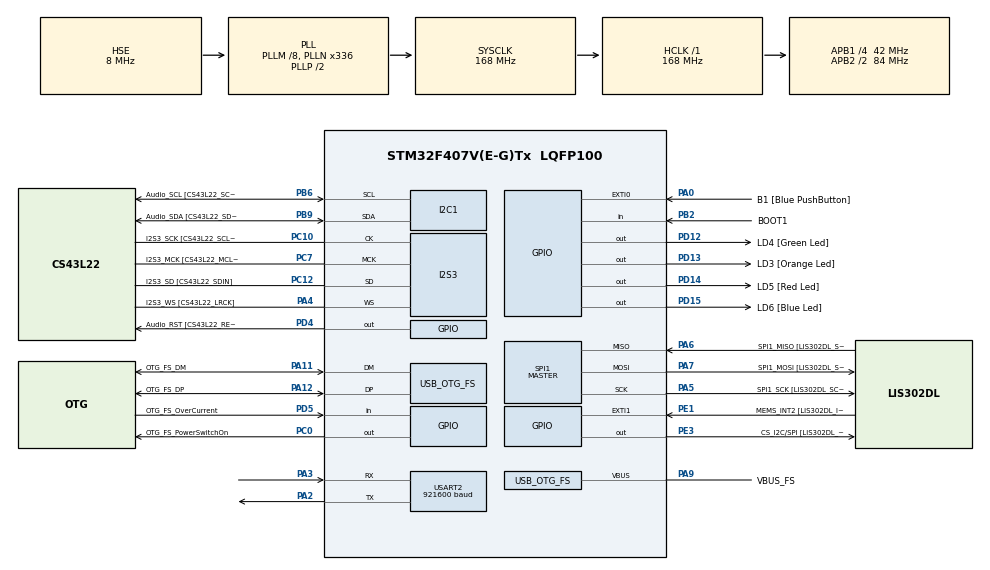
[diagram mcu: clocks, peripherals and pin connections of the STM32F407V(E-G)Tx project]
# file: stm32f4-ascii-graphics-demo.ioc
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Dma.Request0=USART2_RX
Dma.Request1=USART2_TX
Dma.USART2_RX.0.Direction=DMA_PERIPH_TO_MEMORY
Dma.USART2_RX.0.FIFOMode=DMA_FIFOMODE_DISABLE
Dma.USART2_RX.0.Instance=DMA1_Stream5
Dma.USART2_RX.0.MemDataAlignment=DMA_MDATAALIGN_BYTE
Dma.USART2_RX.0.MemInc=DMA_MINC_ENABLE
Dma.USART2_RX.0.Mode=DMA_CIRCULAR
Dma.USART2_RX.0.PeriphDataAlignment=DMA_PDATAALIGN_BYTE
Dma.USART2_RX.0.PeriphInc=DMA_PINC_DISABLE
Dma.USART2_RX.0.Priority=DMA_PRIORITY_LOW
Dma.USART2_TX.1.Direction=DMA_MEMORY_TO_PERIPH
Dma.USART2_TX.1.FIFOMode=DMA_FIFOMODE_DISABLE
Dma.USART2_TX.1.Instance=DMA1_Stream6
Dma.USART2_TX.1.MemDataAlignment=DMA_MDATAALIGN_BYTE
Dma.USART2_TX.1.MemInc=DMA_MINC_ENABLE
Dma.USART2_TX.1.Mode=DMA_NORMAL
Dma.USART2_TX.1.PeriphDataAlignment=DMA_PDATAALIGN_BYTE
Dma.USART2_TX.1.PeriphInc=DMA_PINC_DISABLE
Dma.USART2_TX.1.Priority=DMA_PRIORITY_LOW
I2S3.AudioFreq-Half_Duplex_Master=I2S_AUDIOFREQ_96K
I2S3.ErrorAudioFreq=-2.34 %
I2S3.ErrorAudioFreq-Half_Duplex_Master=0.8 %
I2S3.FullDuplexMode=I2S_FULLDUPLEXMODE_DISABLE
I2S3.Instance=SPI$Index
I2S3.RealAudioFreq=93.75 KHz
I2S3.RealAudioFreq-Half_Duplex_Master=96.774 KHz
I2S3.VirtualMode=I2S_MODE_MASTER
Mcu.Family=STM32F4
Mcu.Name=STM32F407V(E-G)Tx
Mcu.Package=LQFP100
NVIC.DMA1_Stream5_IRQn=true\:0\:0\:false\:false\:true\:false\:true\:true
NVIC.DMA1_Stream6_IRQn=true\:0\:0\:false\:false\:true\:false\:true\:true
NVIC.OTG_FS_IRQn=true\:0\:0\:false\:false\:true\:true\:true\:true
NVIC.PriorityGroup=NVIC_PRIORITYGROUP_0
NVIC.USART2_IRQn=true\:0\:0\:false\:false\:true\:true\:true\:true
PA0-WKUP.GPIO_Label=B1 [Blue PushButton]
PA0-WKUP.GPIO_ModeDefaultEXTI=GPIO_MODE_EVT_RISING
PA0-WKUP.GPIO_PuPd=GPIO_NOPULL
PA0-WKUP.Signal=GPXTI0
PA10.GPIO_Label=OTG_FS_ID
PA10.GPIO_Mode=GPIO_MODE_AF_PP
PA10.GPIO_PuPd=GPIO_NOPULL
PA10.GPIO_Speed=GPIO_SPEED_FREQ_LOW
PA10.Signal=USB_OTG_FS_ID
PA11.GPIO_Label=OTG_FS_DM
PA11.GPIO_Mode=GPIO_MODE_AF_PP
PA11.GPIO_PuPd=GPIO_NOPULL
PA11.GPIO_Speed=GPIO_SPEED_FREQ_LOW
PA11.Mode=Host_Only
PA11.Signal=USB_OTG_FS_DM
PA12.GPIO_Label=OTG_FS_DP
PA12.GPIO_Mode=GPIO_MODE_AF_PP
PA12.GPIO_PuPd=GPIO_NOPULL
PA12.GPIO_Speed=GPIO_SPEED_FREQ_LOW
PA12.Mode=Host_Only
PA12.Signal=USB_OTG_FS_DP
PA13.GPIO_Label=SWDIO
PA13.Mode=Serial_Wire
PA13.Signal=SYS_JTMS-SWDIO
PA14.GPIO_Label=SWCLK
PA14.Mode=Serial_Wire
PA14.Signal=SYS_JTCK-SWCLK
PA2.Mode=Asynchronous
PA2.Signal=USART2_TX
PA3.Mode=Asynchronous
PA3.Signal=USART2_RX
PA4.GPIO_Label=I2S3_WS [CS43L22_LRCK]
PA4.GPIO_Mode=GPIO_MODE_AF_PP
PA4.GPIO_PuPd=GPIO_NOPULL
PA4.GPIO_Speed=GPIO_SPEED_FREQ_LOW
PA4.Mode=Half_Duplex_Master
PA4.Signal=I2S3_WS
PA5.GPIO_Label=SPI1_SCK [LIS302DL_SCL/SPC]
PA5.GPIO_Mode=GPIO_MODE_AF_PP
PA5.GPIO_PuPd=GPIO_NOPULL
PA5.GPIO_Speed=GPIO_SPEED_FREQ_LOW
PA5.Mode=Full_Duplex_Master
PA5.Signal=SPI1_SCK
PA6.GPIO_Label=SPI1_MISO [LIS302DL_SDO]
PA6.GPIO_Mode=GPIO_MODE_AF_PP
PA6.GPIO_PuPd=GPIO_NOPULL
PA6.GPIO_Speed=GPIO_SPEED_FREQ_LOW
PA6.Mode=Full_Duplex_Master
PA6.Signal=SPI1_MISO
PA7.GPIO_Label=SPI1_MOSI [LIS302DL_SDA/SDI/SDO]
PA7.GPIO_Mode=GPIO_MODE_AF_PP
PA7.GPIO_PuPd=GPIO_NOPULL
PA7.GPIO_Speed=GPIO_SPEED_FREQ_LOW
PA7.Mode=Full_Duplex_Master
PA7.Signal=SPI1_MOSI
PA9.GPIO_Label=VBUS_FS
PA9.GPIO_Mode=GPIO_MODE_INPUT
PA9.GPIO_PuPd=GPIO_NOPULL
PA9.Mode=Activate_VBUS
PA9.Signal=USB_OTG_FS_VBUS
PB10.GPIO_Label=CLK_IN [MP45DT02_CLK]
PB10.GPIO_Mode=GPIO_MODE_AF_PP
PB10.GPIO_PuPd=GPIO_NOPULL
PB10.GPIO_Speed=GPIO_SPEED_FREQ_LOW
PB10.Signal=I2S2_CK
PB2.GPIO_Label=BOOT1
PB2.GPIO_Mode=GPIO_MODE_INPUT
PB2.GPIO_PuPd=GPIO_NOPULL
PB2.Signal=GPIO_Input
PB3.GPIO_Label=SWO
PB3.Signal=SYS_JTDO-SWO
PB6.GPIO_Label=Audio_SCL [CS43L22_SCL]
PB6.GPIO_Mode=GPIO_MODE_AF_OD
PB6.GPIO_Pu=GPIO_PULLUP
PB6.GPIO_PuPd=GPIO_NOPULL
PB6.GPIO_Speed=GPIO_SPEED_FREQ_LOW
PB6.Mode=I2C
PB6.Signal=I2C1_SCL
PB9.GPIO_Label=Audio_SDA [CS43L22_SDA]
PB9.GPIO_Mode=GPIO_MODE_AF_OD
PB9.GPIO_Pu=GPIO_PULLUP
PB9.GPIO_PuPd=GPIO_NOPULL
PB9.GPIO_Speed=GPIO_SPEED_FREQ_LOW
PB9.Mode=I2C
PB9.Signal=I2C1_SDA
PC0.GPIO_Label=OTG_FS_PowerSwitchOn
PC0.GPIO_PuPd=GPIO_NOPULL
PC0.GPIO_Speed=GPIO_SPEED_FREQ_LOW
PC0.PinState=GPIO_PIN_SET
PC0.Signal=GPIO_Output
PC10.GPIO_Label=I2S3_SCK [CS43L22_SCLK]
PC10.GPIO_Mode=GPIO_MODE_AF_PP
PC10.GPIO_PuPd=GPIO_NOPULL
PC10.GPIO_Speed=GPIO_SPEED_FREQ_LOW
PC10.Mode=Half_Duplex_Master
PC10.Signal=I2S3_CK
PC12.GPIO_Label=I2S3_SD [CS43L22_SDIN]
PC12.GPIO_Mode=GPIO_MODE_AF_PP
PC12.GPIO_PuPd=GPIO_NOPULL
PC12.GPIO_Speed=GPIO_SPEED_FREQ_LOW
PC12.Mode=Half_Duplex_Master
PC12.Signal=I2S3_SD
PC14-OSC32_IN.GPIO_Label=PC14-OSC32_IN
PC14-OSC32_IN.Mode=LSE-External-Oscillator
PC14-OSC32_IN.Signal=RCC_OSC32_IN
PC15-OSC32_OUT.GPIO_Label=PC15-OSC32_OUT
PC15-OSC32_OUT.Mode=LSE-External-Oscillator
PC15-OSC32_OUT.Signal=RCC_OSC32_OUT
PC3.GPIO_Label=PDM_OUT [MP45DT02_DOUT]
PC3.GPIO_Mode=GPIO_MODE_AF_PP
PC3.GPIO_PuPd=GPIO_NOPULL
PC3.GPIO_Speed=GPIO_SPEED_FREQ_LOW
PC3.Signal=I2S2_SD
PC7.GPIO_Label=I2S3_MCK [CS43L22_MCLK]
PC7.GPIO_Mode=GPIO_MODE_AF_PP
PC7.GPIO_PuPd=GPIO_NOPULL
PC7.GPIO_Speed=GPIO_SPEED_FREQ_LOW
PC7.Mode=Master_Clock_Activated
PC7.Signal=I2S3_MCK
PD12.GPIO_Label=LD4 [Green Led]
PD12.GPIO_PuPd=GPIO_NOPULL
PD12.GPIO_Speed=GPIO_SPEED_FREQ_LOW
PD12.Signal=GPIO_Output
PD13.GPIO_Label=LD3 [Orange Led]
PD13.GPIO_PuPd=GPIO_NOPULL
PD13.GPIO_Speed=GPIO_SPEED_FREQ_LOW
PD13.Signal=GPIO_Output
PD14.GPIO_Label=LD5 [Red Led]
PD14.GPIO_PuPd=GPIO_NOPULL
PD14.GPIO_Speed=GPIO_SPEED_FREQ_LOW
PD14.Signal=GPIO_Output
PD15.GPIO_Label=LD6 [Blue Led]
PD15.GPIO_PuPd=GPIO_NOPULL
PD15.GPIO_Speed=GPIO_SPEED_FREQ_LOW
PD15.Signal=GPIO_Output
PD4.GPIO_Label=Audio_RST [CS43L22_RESET]
PD4.GPIO_PuPd=GPIO_NOPULL
PD4.GPIO_Speed=GPIO_SPEED_FREQ_LOW
PD4.Signal=GPIO_Output
PD5.GPIO_Label=OTG_FS_OverCurrent
PD5.GPIO_Mode=GPIO_MODE_INPUT
PD5.GPIO_PuPd=GPIO_NOPULL
PD5.Signal=GPIO_Input
PE1.GPIO_Label=MEMS_INT2 [LIS302DL_INT2]
PE1.GPIO_ModeDefaultEXTI=GPIO_MODE_EVT_RISING
PE1.GPIO_PuPd=GPIO_NOPULL
PE1.Signal=GPXTI1
PE3.GPIO_Label=CS_I2C/SPI [LIS302DL_CS_I2C/SPI]
PE3.GPIO_PuPd=GPIO_NOPULL
PE3.GPIO_Speed=GPIO_SPEED_FREQ_LOW
PE3.Signal=GPIO_Output
PH0-OSC_IN.GPIO_Label=PH0-OSC_IN
PH0-OSC_IN.Mode=HSE-External-Oscillator
PH0-OSC_IN.Signal=RCC_OSC_IN
PH1-OSC_OUT.GPIO_Label=PH1-OSC_OUT
PH1-OSC_OUT.Mode=HSE-External-Oscillator
PH1-OSC_OUT.Signal=RCC_OSC_OUT
ProjectManager.HeapSize=0x200
ProjectManager.StackSize=0x400
ProjectManager.TargetToolchain=STM32CubeIDE
RCC.48MHZClocksFreq_Value=48000000
RCC.AHBFreq_Value=168000000
RCC.APB1CLKDivider=RCC_HCLK_DIV4
RCC.APB1Freq_Value=42000000
RCC.APB1TimFreq_Value=84000000
RCC.APB2CLKDivider=RCC_HCLK_DIV2
RCC.APB2Freq_Value=84000000
RCC.APB2TimFreq_Value=168000000
RCC.CortexFreq_Value=168000000
RCC.HCLKFreq_Value=168000000
RCC.HSE_VALUE=8000000
RCC.HSI_VALUE=16000000
RCC.PLLM=8
RCC.PLLN=336
RCC.PLLQ=7
RCC.SYSCLKFreq_VALUE=168000000
RCC.SYSCLKSource=RCC_SYSCLKSOURCE_PLLCLK
RCC.VCOOutputFreq_Value=336000000
SPI1.BaudRatePrescaler-Full_Duplex_Master=SPI_BAUDRATEPRESCALER_2
SPI1.CalculateBaudRate-Full_Duplex_Master=42.0 MBits/s
SPI1.Direction=SPI_DIRECTION_2LINES
SPI1.Mode=SPI_MODE_MASTER
SPI1.Mode-Full_Duplex_Master=SPI_MODE_MASTER
SPI1.VirtualType=VM_MASTER
USART2.BaudRate=921600
USART2.VirtualMode=VM_ASYNC
USB_HOST.BSP.number=1
USB_HOST.USBH_HandleTypeDef-CDC_FS=hUsbHostFS
USB_HOST.VirtualModeFS=Cdc
USB_HOST0.BSP.STBoard=false
USB_HOST0.BSP.api=Unknown
USB_HOST0.BSP.instance=PC0
USB_HOST0.BSP.ip=GPIO
USB_HOST0.BSP.mode=Output
USB_HOST0.BSP.name=Drive_VBUS_FS
USB_HOST0.BSP.solution=PC0
USB_OTG_FS.VirtualMode=Host_Only
USB_OTG_FS.phy_itface=HCD_PHY_EMBEDDED
VP_RNG_VS_RNG.Mode=RNG_Activate
VP_USB_HOST_VS_USB_HOST_CDC_FS.Mode=CDC_FS
board=STM32F407G-DISC1

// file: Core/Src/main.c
/* USER CODE BEGIN Header */
/**
 ******************************************************************************
 * @file           : main.c
 * @brief          : Main program body
 ******************************************************************************
 * @attention
 *
 * Copyright (c) 2025 STMicroelectronics.
 * All rights reserved.
 *
 * This software is licensed under terms that can be found in the LICENSE file
 * in the root directory of this software component.
 * If no LICENSE file comes with this software, it is provided AS-IS.
 *
 ******************************************************************************
 */
/* USER CODE END Header */
#include "main.h"
#include "dma.h"
#include "gpio.h"
#include "i2c.h"
#include "i2s.h"
#include "rng.h"
#include "spi.h"
#include "usart.h"
#include "usb_host.h"

/* USER CODE BEGIN Includes */
// Project libraries
#include "dashboard.h"
#include "scene_manager.h"
#include "serial_hw.h"
#include "shell.h"
#include "terminal.h"

/* USER CODE END Includes */

/* USER CODE BEGIN PV */
SystemMode_t system_mode = SYSTEM_STATE_USER_INPUT; // Initialize the system mode to user input by default

/* USER CODE END PV */

void SystemClock_Config(void);
void MX_USB_HOST_Process(void);

int main(void)
{

	/* MCU Configuration--------------------------------------------------------*/

	/* Reset of all peripherals, Initializes the Flash interface and the Systick. */
	HAL_Init();

	/* Configure the system clock */
	SystemClock_Config();

	/* Initialize all configured peripherals */
	MX_GPIO_Init();
	MX_DMA_Init();
	MX_I2C1_Init();
	MX_I2S3_Init();
	MX_SPI1_Init();
	MX_USB_HOST_Init();
	MX_USART2_UART_Init();
	MX_RNG_Init();

	/* USER CODE BEGIN 2 */
	// Initialize all user modules
	TerminalInit(FALSE, TERMINAL_WIDTH, TERMINAL_HEIGHT); // Initialize terminal (disable cursor blinking)

	SerialReceiveInit(); // Begin UART data reception using DMA
	ShellInit();         // Initialize the CLI shell interface

	// Timing and Frame Rate Control
	uint32_t last_heartbeat = HAL_GetTick(); // Tracks the last time a frame was processed
	uint32_t frame_counter = 0;              // Incremental count of elapsed frames

	// FPS Calculation Variables
	uint32_t last_fps = HAL_GetTick(); // Timestamp for the last FPS calculation
	uint32_t fps_counter = 0;          // Tracks frames rendered in the current second

	/* USER CODE END 2 */

	/* Infinite loop */
	/* USER CODE BEGIN WHILE */
	while (1)
	{
		// Get the current system time
		uint32_t current_time = HAL_GetTick();

		/* USER CODE END WHILE */
		MX_USB_HOST_Process();

		/* USER CODE BEGIN 3 */
		// Process incoming serial data if the system is in user input mode
		if (system_mode == SYSTEM_STATE_USER_INPUT)
		{
			SerialProcessData();
		}

		// While in dashboard mode, check if one second has passed to update the FPS display
		if (system_mode == SYSTEM_STATE_DASHBOARD && (current_time - last_fps >= ONE_SECOND_MS))
		{
			DashboardFPSRefresh(fps_counter, TARGET_FPS);

			// Increment the FPS counter and reset the timer for the next second
			fps_counter = 0;
			last_fps = current_time;
		}

		// Check if it's time to process the next frame based on the target frame interval
		if (current_time - last_heartbeat >= FRAME_INTERVAL_MS)
		{
			// While in dashboard mode, update the menu selection highlight based on the current
			// frame count to create a blinking effect
			if (system_mode == SYSTEM_STATE_DASHBOARD)
			{
				DashboardMenuSelection(frame_counter);
			}

			// While in playlist mode, Let SceneManager Handle scene logic
			if (system_mode == SYSTEM_STATE_PLAYLIST_SCENE)
			{
				SceneManager(frame_counter);
			}

			// While in auto scene mode, Let SceneManager Handle scene logic
			if (system_mode == SYSTEM_STATE_AUTO_SCENE)
			{
				SceneManager(frame_counter);
			}

			// Update the heartbeat timestamp after a slow scene
			// only resyncs after falling 2 full frame intervals behind
			if (current_time - last_heartbeat > (FRAME_INTERVAL_MS * 2))
				last_heartbeat = current_time;
			else
				last_heartbeat += FRAME_INTERVAL_MS;

			// Increment trackers and maintain a consistent time for the next frame
			frame_counter++;
			fps_counter++;
		}
	}
	/* USER CODE END 3 */
}

void SystemClock_Config(void)
{
	RCC_OscInitTypeDef RCC_OscInitStruct = {0};
	RCC_ClkInitTypeDef RCC_ClkInitStruct = {0};

	/** Configure the main internal regulator output voltage
	 */
	__HAL_RCC_PWR_CLK_ENABLE();
	__HAL_PWR_VOLTAGESCALING_CONFIG(PWR_REGULATOR_VOLTAGE_SCALE1);

	/** Initializes the RCC Oscillators according to the specified parameters
	 * in the RCC_OscInitTypeDef structure.
	 */
	RCC_OscInitStruct.OscillatorType = RCC_OSCILLATORTYPE_HSE;
	RCC_OscInitStruct.HSEState = RCC_HSE_ON;
	RCC_OscInitStruct.PLL.PLLState = RCC_PLL_ON;
	RCC_OscInitStruct.PLL.PLLSource = RCC_PLLSOURCE_HSE;
	RCC_OscInitStruct.PLL.PLLM = 8;
	RCC_OscInitStruct.PLL.PLLN = 336;
	RCC_OscInitStruct.PLL.PLLP = RCC_PLLP_DIV2;
	RCC_OscInitStruct.PLL.PLLQ = 7;
	if (HAL_RCC_OscConfig(&RCC_OscInitStruct) != HAL_OK)
	{
		Error_Handler();
	}

	/** Initializes the CPU, AHB and APB buses clocks
	 */
	RCC_ClkInitStruct.ClockType = RCC_CLOCKTYPE_HCLK | RCC_CLOCKTYPE_SYSCLK | RCC_CLOCKTYPE_PCLK1 | RCC_CLOCKTYPE_PCLK2;
	RCC_ClkInitStruct.SYSCLKSource = RCC_SYSCLKSOURCE_PLLCLK;
	RCC_ClkInitStruct.AHBCLKDivider = RCC_SYSCLK_DIV1;
	RCC_ClkInitStruct.APB1CLKDivider = RCC_HCLK_DIV4;
	RCC_ClkInitStruct.APB2CLKDivider = RCC_HCLK_DIV2;

	if (HAL_RCC_ClockConfig(&RCC_ClkInitStruct, FLASH_LATENCY_5) != HAL_OK)
	{
		Error_Handler();
	}
}

void Error_Handler(void)
{
	__disable_irq();
	while (1)
	{
	}
}
